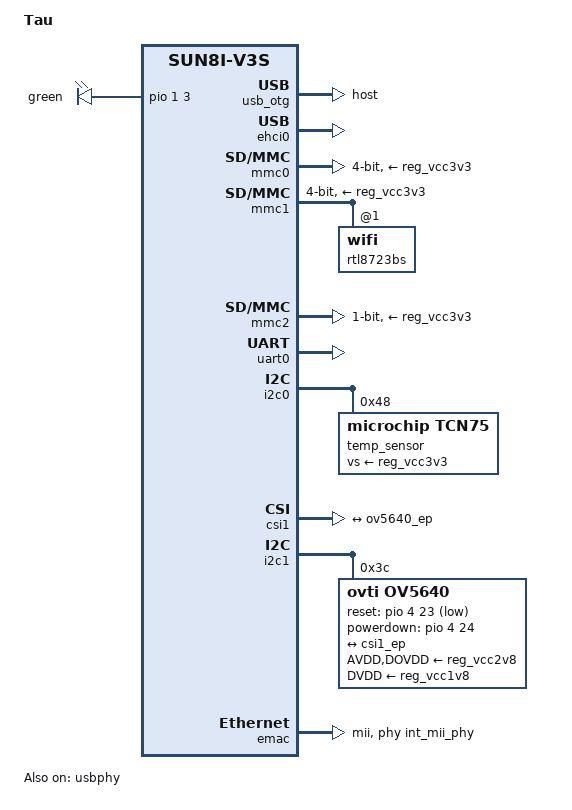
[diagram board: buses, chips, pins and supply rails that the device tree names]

/dts-v1/;
#include "sun8i-v3s.dtsi"
#include "sunxi-common-regulators.dtsi"

#include <dt-bindings/gpio/gpio.h>
#include <dt-bindings/leds/common.h>

/ {
	model = "Tau";

	//compatible = "licheepi,licheepi-zero", "allwinner,sun8i-v3s";
	compatible = "allwinner,sun8i-v3s";

	aliases {
		serial0 = &uart0;
		ethernet0 = &emac;
	};

	chosen {
		stdout-path = "serial0:115200n8";
	};

	leds {
		compatible = "gpio-leds";
		status = "okay";

		green_led {
			label = "green";
			gpios = <&pio 1 3 GPIO_ACTIVE_HIGH>;	// PB3
			linux,default-trigger = "activity";
		};
	};
};

&usb_otg {
	dr_mode = "host";
	status = "okay";
};

&usbphy {
	//usb0_id_det = <&pio 5 6 GPIO_ACTIVE_HIGH>;
	status = "okay";
};

&ehci0 {
	status = "okay";
};

//&ohci0 {
//	status = "okay";
//};

&mmc0 {
	broken-cd;
	bus-width = <4>;
	vmmc-supply = <&reg_vcc3v3>;
	status = "okay";
};

&mmc1 {
	broken-cd;
	bus-width = <4>;
	vmmc-supply = <&reg_vcc3v3>;
	status = "okay";

	rtl8723bs: wifi@1 {
		reg = <1>;
	};
};

&mmc2 {
	broken-cd;
	bus-width = <1>;
	vmmc-supply = <&reg_vcc3v3>;
	status = "okay";
};

&uart0 {
	pinctrl-0 = <&uart0_pb_pins>;
	pinctrl-names = "default";
	status = "okay";
};

&i2c0 {
	pinctrl-0 = <&i2c0_pins>;
	pinctrl-names = "default";
	status = "okay";

	temp_sensor: tcn75@48 {
		compatible = "microchip,tcn75";
		reg = <0x48>;
		vs-supply = <&reg_vcc3v3>;
	};
};

// OV5640
&csi1 {
	pinctrl-names = "default";
	pinctrl-0 = <&csi1_8bit_pins>;
	status = "okay";

	port {
		#address-cells = <1>;
		#size-cells = <0>;

		csi1_ep: endpoint {
			remote-endpoint = <&ov5640_ep>;
			bus-width = <8>;
			hsync-active = <1>;		// Active high
			vsync-active = <0>;		// Active low
			data-active = <1>;		// Active high
			pclk-sample = <1>;		// Rising
		};
	};
};

&i2c1 {
	pinctrl-0 = <&i2c1_pe_pins>;
	pinctrl-names = "default";
	status = "okay";

	ov5640: camera@3c {
		compatible = "ovti,ov5640";
		reg = <0x3c>;
		pinctrl-names = "default";
		pinctrl-0 = <&csi1_mclk_pin>;
		clocks = <&ccu CLK_CSI1_MCLK>;
		clock-names = "xclk";

		AVDD-supply = <&reg_vcc2v8>;
		DOVDD-supply = <&reg_vcc2v8>;
		DVDD-supply = <&reg_vcc1v8>;
		reset-gpios = <&pio 4 23 GPIO_ACTIVE_LOW>;			// PE23
		powerdown-gpios = <&pio 4 24 GPIO_ACTIVE_HIGH>;		// PE24

		port {
			ov5640_ep: endpoint {
				remote-endpoint = <&csi1_ep>;
				bus-width = <8>;
				hsync-active = <1>;		// Active high
				vsync-active = <0>;		// Active low
				data-active = <1>;		// Active high
				pclk-sample = <1>;		// Rising
			};
		};
	};
};

&emac {
	phy-handle = <&int_mii_phy>;
	phy-mode = "mii";
	allwinner,leds-active-low;
	status = "okay";
};

